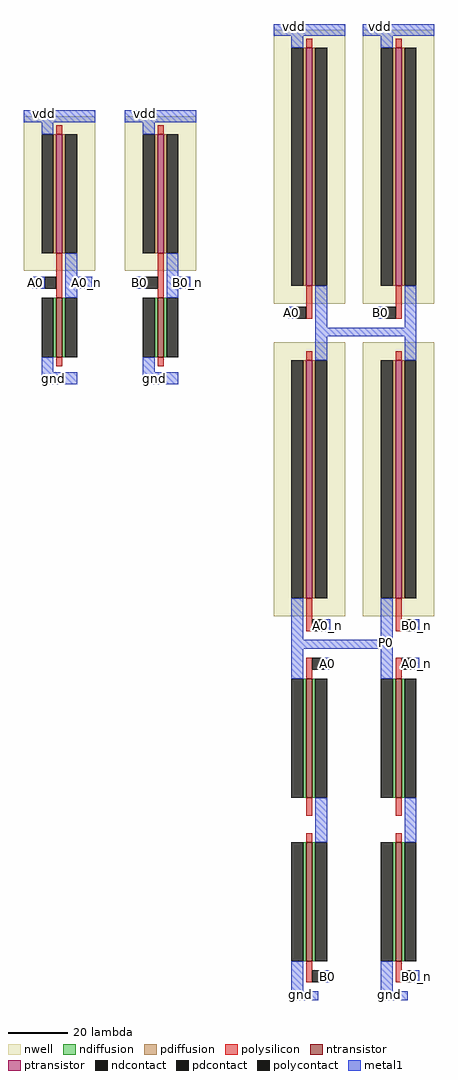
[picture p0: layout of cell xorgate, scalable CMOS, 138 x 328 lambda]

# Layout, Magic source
magic
tech scmos
<< nwell >>
rect -463 1276 -439 1328
rect -429 1276 -405 1328
rect -379 1265 -355 1357
rect -349 1265 -325 1357
rect -379 1160 -355 1252
rect -349 1160 -325 1252
<< ntransistor >>
rect -452 1247 -450 1267
rect -418 1247 -416 1267
rect -368 1099 -366 1139
rect -338 1099 -336 1139
rect -368 1044 -366 1084
rect -338 1044 -336 1084
<< ptransistor >>
rect -452 1282 -450 1322
rect -418 1282 -416 1322
rect -368 1271 -366 1351
rect -338 1271 -336 1351
rect -368 1166 -366 1246
rect -338 1166 -336 1246
<< ndiffusion >>
rect -453 1247 -452 1267
rect -450 1247 -449 1267
rect -419 1247 -418 1267
rect -416 1247 -415 1267
rect -369 1099 -368 1139
rect -366 1099 -365 1139
rect -339 1099 -338 1139
rect -336 1099 -335 1139
rect -369 1044 -368 1084
rect -366 1044 -365 1084
rect -339 1044 -338 1084
rect -336 1044 -335 1084
<< pdiffusion >>
rect -453 1282 -452 1322
rect -450 1282 -449 1322
rect -419 1282 -418 1322
rect -416 1282 -415 1322
rect -369 1271 -368 1351
rect -366 1271 -365 1351
rect -339 1271 -338 1351
rect -336 1271 -335 1351
rect -369 1166 -368 1246
rect -366 1166 -365 1246
rect -339 1166 -338 1246
rect -336 1166 -335 1246
<< ndcontact >>
rect -457 1247 -453 1267
rect -449 1247 -445 1267
rect -423 1247 -419 1267
rect -415 1247 -411 1267
rect -373 1099 -369 1139
rect -365 1099 -361 1139
rect -343 1099 -339 1139
rect -335 1099 -331 1139
rect -373 1044 -369 1084
rect -365 1044 -361 1084
rect -343 1044 -339 1084
rect -335 1044 -331 1084
<< pdcontact >>
rect -457 1282 -453 1322
rect -449 1282 -445 1322
rect -423 1282 -419 1322
rect -415 1282 -411 1322
rect -373 1271 -369 1351
rect -365 1271 -361 1351
rect -343 1271 -339 1351
rect -335 1271 -331 1351
rect -373 1166 -369 1246
rect -365 1166 -361 1246
rect -343 1166 -339 1246
rect -335 1166 -331 1246
<< polysilicon >>
rect -368 1351 -366 1354
rect -338 1351 -336 1354
rect -452 1322 -450 1325
rect -418 1322 -416 1325
rect -452 1267 -450 1282
rect -418 1267 -416 1282
rect -368 1260 -366 1271
rect -338 1260 -336 1271
rect -452 1244 -450 1247
rect -418 1244 -416 1247
rect -368 1246 -366 1249
rect -338 1246 -336 1249
rect -368 1155 -366 1166
rect -338 1155 -336 1166
rect -368 1139 -366 1146
rect -338 1139 -336 1146
rect -368 1093 -366 1099
rect -338 1093 -336 1099
rect -368 1084 -366 1087
rect -338 1084 -336 1087
rect -368 1037 -366 1044
rect -338 1037 -336 1044
<< polycontact >>
rect -456 1270 -452 1274
rect -422 1270 -418 1274
rect -372 1260 -368 1264
rect -342 1260 -338 1264
rect -366 1155 -362 1159
rect -336 1155 -332 1159
rect -366 1142 -362 1146
rect -336 1142 -332 1146
rect -366 1037 -362 1041
rect -336 1037 -332 1041
<< metal1 >>
rect -379 1355 -355 1359
rect -349 1355 -325 1359
rect -373 1351 -369 1355
rect -343 1351 -339 1355
rect -463 1326 -439 1330
rect -429 1326 -405 1330
rect -457 1322 -453 1326
rect -423 1322 -419 1326
rect -449 1274 -445 1282
rect -415 1274 -411 1282
rect -460 1270 -456 1274
rect -449 1270 -440 1274
rect -426 1270 -422 1274
rect -415 1270 -407 1274
rect -449 1267 -445 1270
rect -415 1267 -411 1270
rect -374 1260 -372 1264
rect -365 1257 -361 1271
rect -344 1260 -342 1264
rect -335 1257 -331 1271
rect -365 1254 -331 1257
rect -457 1242 -453 1247
rect -423 1242 -419 1247
rect -365 1246 -361 1254
rect -335 1246 -331 1254
rect -457 1238 -445 1242
rect -423 1238 -411 1242
rect -373 1152 -369 1166
rect -362 1155 -360 1159
rect -343 1152 -339 1166
rect -332 1155 -330 1159
rect -373 1149 -339 1152
rect -373 1139 -369 1149
rect -362 1142 -360 1146
rect -343 1139 -339 1149
rect -332 1142 -330 1146
rect -365 1084 -361 1099
rect -335 1084 -331 1099
rect -373 1034 -369 1044
rect -362 1037 -360 1041
rect -343 1034 -339 1044
rect -332 1037 -330 1041
rect -373 1031 -364 1034
rect -343 1031 -334 1034
<< labels >>
rlabel metal1 -453 1240 -453 1240 1 gnd
rlabel metal1 -419 1240 -419 1240 1 gnd
rlabel metal1 -459 1272 -459 1272 1 A0
rlabel metal1 -442 1272 -442 1272 1 A0_n
rlabel metal1 -424 1272 -424 1272 1 B0
rlabel metal1 -408 1272 -408 1272 1 B0_n
rlabel metal1 -456 1329 -456 1329 5 vdd
rlabel metal1 -422 1329 -422 1329 5 vdd
rlabel metal1 -372 1358 -372 1358 5 vdd
rlabel metal1 -343 1358 -343 1358 5 vdd
rlabel metal1 -370 1033 -370 1033 1 gnd
rlabel metal1 -340 1033 -340 1033 1 gnd
rlabel metal1 -373 1262 -373 1262 1 A0
rlabel metal1 -343 1262 -343 1262 1 B0
rlabel metal1 -361 1157 -361 1157 1 A0_n
rlabel metal1 -331 1157 -331 1157 1 B0_n
rlabel metal1 -361 1144 -361 1144 1 A0
rlabel metal1 -331 1144 -331 1144 1 A0_n
rlabel metal1 -361 1039 -361 1039 1 B0
rlabel metal1 -331 1039 -331 1039 1 B0_n
rlabel metal1 -341 1151 -341 1151 1 P0
<< end >>
